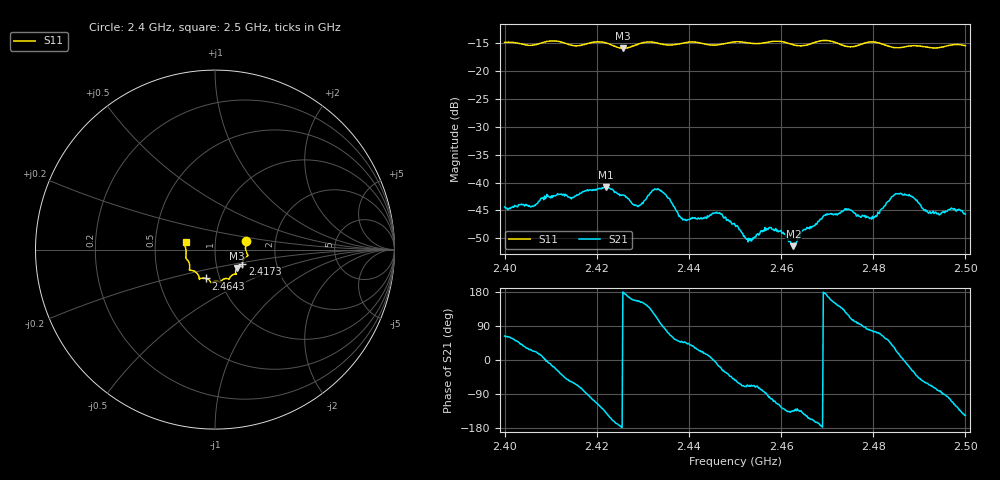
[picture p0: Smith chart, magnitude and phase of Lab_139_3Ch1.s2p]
# Hz S RI R 50
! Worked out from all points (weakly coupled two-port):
!   601 points, 2.4 GHz to 2.5 GHz, reference 50 ohm
!   highest |S21| = -40.83 dB at 2.422 GHz (marker M1); lowest = -51.4 dB at 2.4627 GHz (marker M2)
!   lowest |S11| = -15.9 dB at 2.4257 GHz (marker M3), VSWR 1.38, Z = 62.4 - j13.1 ohm
!   |S11| at or under -10 dB: start of sweep to end of sweep
!   S12 and S22 are empty: the file has one direction only
!   S11 on the Smith chart (normalised r, x): 2.4 GHz: 1.41, +0.14; 2.4173 GHz: 1.34, -0.23; 2.4643 GHz: 0.86, -0.28; 2.5 GHz: 0.72, +0.06
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2.4e9  0.1738 0.0493  0.00273 0.00539  0 0  0 0
2.416667e9  0.1533 -0.0744  0.00219 -0.00773  0 0  0 0
2.417333e9  0.1528 -0.082  0.000967 -0.00828  0 0  0 0
2.422e9  0.1517 -0.095  -0.00683 -0.00599  0 0  0 0
2.425667e9  0.1226 -0.1024  -0.00773 6.96e-05  0 0  0 0
2.429e9  0.1154 -0.1311  -0.0055 0.0026  0 0  0 0
2.433333e9  0.1131 -0.1365  -0.00237 0.00844  0 0  0 0
2.438833e9  0.0812 -0.1589  0.00326 0.00336  0 0  0 0
2.446167e9  0.0462 -0.1653  0.00521 -0.00106  0 0  0 0
2.45e9  0.0294 -0.1806  0.00243 -0.00337  0 0  0 0
2.453e9  0.0175 -0.1775  0.00113 -0.00295  0 0  0 0
2.457833e9  -0.0177 -0.1828  -0.000857 -0.00385  0 0  0 0
2.462667e9  -0.0336 -0.1689  -0.00184 -0.00195  0 0  0 0
2.464333e9  -0.0499 -0.1607  -0.00245 -0.00255  0 0  0 0
2.466667e9  -0.0761 -0.1596  -0.00368 -0.00159  0 0  0 0
2.469667e9  -0.0879 -0.1663  -0.00505 0.000464  0 0  0 0
2.474167e9  -0.0985 -0.1343  -0.00325 0.00483  0 0  0 0
2.479833e9  -0.1427 -0.114  0.00115 0.00485  0 0  0 0
2.483333e9  -0.1408 -0.0902  0.00428 0.00531  0 0  0 0
2.487333e9  -0.1574 -0.0545  0.00755 -0.00152  0 0  0 0
2.492e9  -0.1608 -0.0255  0.00229 -0.00478  0 0  0 0
2.5e9  -0.1636 0.0419  -0.00434 -0.00288  0 0  0 0
